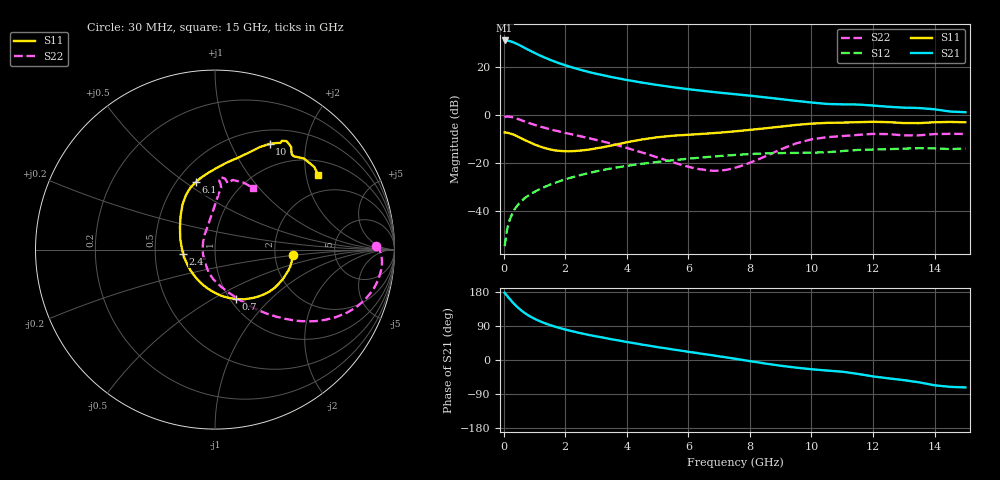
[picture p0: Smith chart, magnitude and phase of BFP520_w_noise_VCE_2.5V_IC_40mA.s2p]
! Infineon Technologies  Discrete & RF Semiconductors
! BFP520
! VCE =  2.5 V,  IC =  40 mA
! Common Emitter S-Parameters:  Oct 2015
# GHz  S  MA  R  50
!  f  S11  S21  S12  S22
! GHz  MAG  ANG  MAG  ANG  MAG  ANG  MAG  ANG
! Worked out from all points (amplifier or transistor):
!   109 points, 30 MHz to 15 GHz, reference 50 ohm
!   highest |S21| = 31.3 dB at 30 MHz (marker M1)
!   |S21| within 3 dB of that: start of sweep to 667.1 MHz
!   unconditionally stable (mu >= 1): start of sweep to 35.64 MHz; 2.207 GHz to end of sweep
!   at 450 MHz: K = 0.45, MSG = 33.7 dB, |S12| = -37.8 dB
!   at 4 GHz: K = 1.14, MAG = 15.8 dB, |S12| = -21.3 dB
!   at 15 GHz: K = 1.26, MAG = 4.6 dB, |S12| = -14.0 dB
!   lowest NFmin = 2.88 dB at 900 MHz
!   S11 on the Smith chart (normalised r, x): 30 MHz: 2.54, -0.18; 700 MHz: 1.06, -0.64; 2.4 GHz: 0.70, -0.04; 6.1 GHz: 0.62, +0.55; 10 GHz: 0.67, +1.42; 15 GHz: 1.42, +2.35
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0.03  0.4367 -3.8  36.62 177.3  0.0018 111.9  0.8994 1.4
0.14  0.4247 -16.1  36.16 166.5  0.0048 85.6  0.9333 -6.6
0.25  0.4041 -27.7  34.68 156.0  0.0078 80.5  0.9121 -13.5
0.35  0.3829 -37.7  32.76 147.2  0.0105 77.9  0.8765 -19.0
0.4  0.3704 -42.3  31.67 143.1  0.0117 76.6  0.856 -21.4
0.5  0.3448 -51.1  29.47 135.8  0.0141 74.9  0.8132 -25.7
0.6  0.3214 -59.5  27.33 129.1  0.0164 73.3  0.7702 -29.3
0.7  0.2979 -67.4  25.27 123.1  0.0186 72.1  0.7297 -32.4
0.8  0.2781 -74.8  23.37 117.8  0.0206 71.0  0.6924 -35.1
1  0.2433 -89.0  20.14 108.9  0.0247 69.7  0.6269 -39.5
1.3  0.2078 -108.7  16.38 98.3  0.0307 68.1  0.5494 -44.6
1.7  0.1813 -133.9  12.91 87.2  0.0388 65.8  0.4715 -50.1
2.4  0.179 -172.1  9.245 72.6  0.0535 61.0  0.3725 -58.1
2.6  0.1842 178.5  8.521 69.0  0.0577 59.5  0.3486 -60.3
3.5  0.2312 147.6  6.274 54.7  0.0766 51.5  0.2522 -72.3
5.1  0.3494 116.7  4.177 32.8  0.1064 36.5  0.1239 -108.5
6.1  0.3915 105.5  3.431 20.5  0.124 27.3  0.0799 -139.3
7.6  0.4628 87.2  2.708 2.3  0.1476 12.8  0.0818 142.5
10  0.6626 62.7  1.836 -24.4  0.1634 -8.8  0.311 86.3
10.5  0.6883 59.7  1.717 -27.8  0.1671 -11.1  0.3452 84.3
13  0.682 51.2  1.434 -53.1  0.1985 -32.8  0.3768 79.1
15  0.7084 35.7  1.151 -72.4  0.1993 -49.2  0.4037 58.3
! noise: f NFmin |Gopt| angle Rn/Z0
0.45  2.9  0.12  -150  0.28
0.9  2.88  0.14  -145  0.32
1.9  3.01  0.21  -123  0.34
2.4  3  0.21  -121  0.33
3.5  2.96  0.21  -107  0.37
